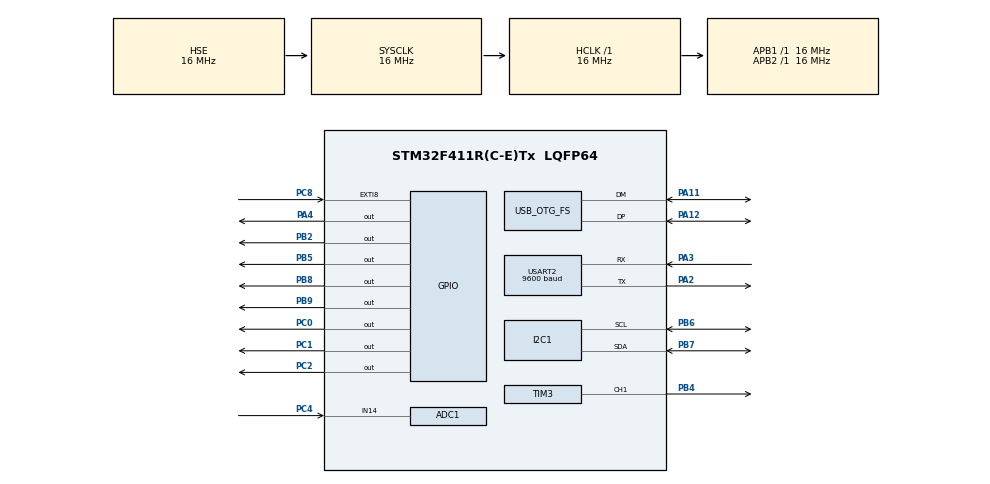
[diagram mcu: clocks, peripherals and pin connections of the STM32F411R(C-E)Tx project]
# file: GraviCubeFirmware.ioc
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ADC1.Channel-0\#ChannelRegularConversion=ADC_CHANNEL_14
ADC1.NbrOfConversionFlag=1
ADC1.Rank-0\#ChannelRegularConversion=1
ADC1.SamplingTime-0\#ChannelRegularConversion=ADC_SAMPLETIME_3CYCLES
ADC1.master=1
Dma.Request0=TIM3_CH1/TRIG
Dma.TIM3_CH1/TRIG.0.Direction=DMA_MEMORY_TO_PERIPH
Dma.TIM3_CH1/TRIG.0.FIFOMode=DMA_FIFOMODE_DISABLE
Dma.TIM3_CH1/TRIG.0.Instance=DMA1_Stream4
Dma.TIM3_CH1/TRIG.0.MemDataAlignment=DMA_MDATAALIGN_HALFWORD
Dma.TIM3_CH1/TRIG.0.MemInc=DMA_MINC_ENABLE
Dma.TIM3_CH1/TRIG.0.Mode=DMA_NORMAL
Dma.TIM3_CH1/TRIG.0.PeriphDataAlignment=DMA_PDATAALIGN_HALFWORD
Dma.TIM3_CH1/TRIG.0.PeriphInc=DMA_PINC_DISABLE
Dma.TIM3_CH1/TRIG.0.Priority=DMA_PRIORITY_LOW
Mcu.Family=STM32F4
Mcu.Name=STM32F411R(C-E)Tx
Mcu.Package=LQFP64
NVIC.DMA1_Stream4_IRQn=true\:0\:0\:false\:false\:true\:false\:true\:true
NVIC.I2C1_ER_IRQn=true\:0\:0\:false\:false\:true\:true\:true\:true
NVIC.I2C1_EV_IRQn=true\:0\:0\:false\:false\:true\:true\:true\:true
NVIC.OTG_FS_IRQn=true\:0\:0\:false\:false\:true\:false\:true\:true
NVIC.PriorityGroup=NVIC_PRIORITYGROUP_4
NVIC.TIM4_IRQn=true\:0\:0\:false\:false\:true\:true\:true\:true
NVIC.USART2_IRQn=true\:0\:0\:false\:false\:true\:true\:true\:true
PA11.Mode=Device_Only
PA11.Signal=USB_OTG_FS_DM
PA12.Mode=Device_Only
PA12.Signal=USB_OTG_FS_DP
PA13.Mode=Trace_Asynchronous_SW
PA13.Signal=SYS_JTMS-SWDIO
PA14.Mode=Trace_Asynchronous_SW
PA14.Signal=SYS_JTCK-SWCLK
PA2.Mode=Asynchronous
PA2.Signal=USART2_TX
PA3.Mode=Asynchronous
PA3.Signal=USART2_RX
PA4.Signal=GPIO_Output
PB2.Signal=GPIO_Output
PB3.Mode=Trace_Asynchronous_SW
PB3.Signal=SYS_JTDO-SWO
PB4.Signal=S_TIM3_CH1
PB5.Signal=GPIO_Output
PB6.Mode=I2C
PB6.Signal=I2C1_SCL
PB7.Mode=I2C
PB7.Signal=I2C1_SDA
PB8.Signal=GPIO_Output
PB9.Signal=GPIO_Output
PC0.PinState=GPIO_PIN_SET
PC0.Signal=GPIO_Output
PC1.PinState=GPIO_PIN_SET
PC1.Signal=GPIO_Output
PC2.PinState=GPIO_PIN_SET
PC2.Signal=GPIO_Output
PC4.Signal=SharedAnalog_PC4
PC8.GPIO_ModeDefaultEXTI=GPIO_MODE_IT_FALLING
PC8.GPIO_PuPd=GPIO_NOPULL
PC8.Signal=GPXTI8
PH0\ -\ OSC_IN.Mode=HSE-External-Oscillator
PH0\ -\ OSC_IN.Signal=RCC_OSC_IN
PH1\ -\ OSC_OUT.Mode=HSE-External-Oscillator
PH1\ -\ OSC_OUT.Signal=RCC_OSC_OUT
ProjectManager.HeapSize=0x200
ProjectManager.StackSize=0x400
ProjectManager.TargetToolchain=STM32CubeIDE
RCC.48MHZClocksFreq_Value=48000000
RCC.AHBFreq_Value=16000000
RCC.APB1Freq_Value=16000000
RCC.APB1TimFreq_Value=16000000
RCC.APB2Freq_Value=16000000
RCC.APB2TimFreq_Value=16000000
RCC.CortexFreq_Value=16000000
RCC.HCLKFreq_Value=16000000
RCC.HSE_VALUE=16000000
RCC.HSI_VALUE=16000000
RCC.LSE_VALUE=32768
RCC.SYSCLKFreq_VALUE=16000000
RCC.SYSCLKSource=RCC_SYSCLKSOURCE_HSE
RCC.VCOOutputFreq_Value=192000000
SH.S_TIM3_CH1.0=TIM3_CH1,PWM Generation1 CH1
SH.SharedAnalog_PC4.0=GPIO_Analog
SH.SharedAnalog_PC4.1=ADC1_IN14,IN14
TIM3.Channel-PWM\ Generation1\ CH1=TIM_CHANNEL_1
TIM3.Period=100-1
TIM3.Prescaler=8-1
TIM4.Period=1000-1
TIM4.Prescaler=16-1
USART2.BaudRate=9600
USART2.VirtualMode=VM_ASYNC
USB_DEVICE.CLASS_NAME_FS=CDC
USB_DEVICE.VirtualMode=Cdc
USB_DEVICE.VirtualModeFS=Cdc_FS
USB_OTG_FS.VirtualMode=Device_Only
VP_TIM3_VS_ClockSourceINT.Mode=Internal
VP_TIM4_VS_ClockSourceINT.Mode=Internal
VP_USB_DEVICE_VS_USB_DEVICE_CDC_FS.Mode=CDC_FS
board=custom

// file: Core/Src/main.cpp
/* USER CODE BEGIN Header */
/**
  ******************************************************************************
  * @file           : main.c
  * @brief          : Main program body
  ******************************************************************************
  * @attention
  *
  * Copyright (c) 2025 STMicroelectronics.
  * All rights reserved.
  *
  * This software is licensed under terms that can be found in the LICENSE file
  * in the root directory of this software component.
  * If no LICENSE file comes with this software, it is provided AS-IS.
  *
  ******************************************************************************
  */
/* USER CODE END Header */
#include "main.h"
#include "usb_device.h"

/* USER CODE BEGIN Includes */
#include <stdio.h>
#include "mpu6050.h"
#include "hc05BT.h"
#include "controlMotor.h"
#include "functions.h"
/* USER CODE END Includes */

ADC_HandleTypeDef hadc1;

I2C_HandleTypeDef hi2c1;

TIM_HandleTypeDef htim3;
TIM_HandleTypeDef htim4;
DMA_HandleTypeDef hdma_tim3_ch1_trig;

UART_HandleTypeDef huart2;

/* USER CODE BEGIN PV */
bool receivedStart_Flag_1D = false;
uint8_t balanceMode = idle;
Motor* Motor_3 = nullptr;
/*
 **********************************
 **		    TEST-SETTINGS	     **
 **********************************
*/
const bool testMode = false;
/* USER CODE END PV */

void SystemClock_Config(void);
static void MX_GPIO_Init(void);
static void MX_DMA_Init(void);
static void MX_I2C1_Init(void);
static void MX_TIM3_Init(void);
static void MX_USART2_UART_Init(void);
static void MX_TIM4_Init(void);
static void MX_ADC1_Init(void);

int main(void)
{

  /* MCU Configuration--------------------------------------------------------*/

  /* Reset of all peripherals, Initializes the Flash interface and the Systick. */
  HAL_Init();

  /* Configure the system clock */
  SystemClock_Config();

  /* Initialize all configured peripherals */
  MX_GPIO_Init();
  MX_DMA_Init();
  MX_USB_DEVICE_Init();
  MX_I2C1_Init();
  MX_TIM3_Init();
  MX_USART2_UART_Init();
  MX_TIM4_Init();
  MX_ADC1_Init();
  /* USER CODE BEGIN 2 */

  Motor_3 = new Motor(&htim3, TIM_CHANNEL_1, GPIOB, GPIO_PIN_9, GPIO_PIN_5, GPIO_PIN_8);

  //MPU-6050 Init
  mpu6050_init(false);

  //HC-05 Bluetooth Init
  hc05_init();

  /*
  TIM3->CCR1 = 50;
  HAL_TIM_PWM_Start(&htim3, TIM_CHANNEL_1);

  HAL_GPIO_WritePin(GPIOB, GPIO_PIN_5, GPIO_PIN_RESET); //Start/Stop auf LOW
  HAL_GPIO_WritePin(GPIOB, GPIO_PIN_8, GPIO_PIN_SET); //Brake auf HIGH damit gelöst
  HAL_GPIO_WritePin(GPIOB, GPIO_PIN_9, GPIO_PIN_RESET); //Richtung des Motors
  */

  HAL_GPIO_WritePin(GPIOC, GPIO_PIN_0, GPIO_PIN_RESET); //RGB-LED

  /* USER CODE END 2 */

  /* Infinite loop */
  /* USER CODE BEGIN WHILE */
  while (1)
  {
	//Function-LED
	blinkLED(500);

	float batteryVoltage = readBatteryVoltage();

	static bool beepState = false;
	static bool startState = false;
	if(batteryVoltage < 10.0)
	{
		static uint32_t timeStart = HAL_GetTick();
		if(!startState)
		{
			timeStart = HAL_GetTick();
			startState = true;
		}

		if(HAL_GetTick() - timeStart >= 2000 && startState)
		{
			timeStart = HAL_GetTick();
			beepState = true;
			printf("%f \n", batteryVoltage);
		}
	}
	else
	{
		beepState = false;
		startState = false;
	}

	static bool buzzerActive = false;

	static uint32_t timeSaveBeep = HAL_GetTick();
	if (beepState)
	{
		if(HAL_GetTick() - timeSaveBeep >= 200)
		{
			HAL_GPIO_TogglePin(GPIOC, GPIO_PIN_2);
			timeSaveBeep = HAL_GetTick();
		}
	}
	else if(!buzzerActive)
	{
		HAL_GPIO_WritePin(GPIOC, GPIO_PIN_2, GPIO_PIN_SET);
	}

	if (receivedStart_Flag_1D && balanceMode == idle)
	{
	    static uint32_t timeSaveBuzzer = 0;

	    if (!buzzerActive)  // If the buzzer is not already on, start it
	    {
	        HAL_GPIO_WritePin(GPIOC, GPIO_PIN_2, GPIO_PIN_RESET); // Turn on buzzer
	        timeSaveBuzzer = HAL_GetTick(); // Save the current time
	        buzzerActive = true;
	    }

	    if (buzzerActive && (HAL_GetTick() - timeSaveBuzzer >= 500)) // 500 ms delay
	    {
	        printf("Start \n");
	        HAL_GPIO_WritePin(GPIOC, GPIO_PIN_2, GPIO_PIN_SET); // Turn off buzzer
	        buzzerActive = false;  // Reset buzzer state

	        if (testMode)
	        {
	        	balanceMode = test;
	        }
	        else
	        {
	        	balanceMode = oneDimensional;
	        }

        	Motor_3->changeMotorState(enableMotor);
        	Motor_3->changeBrakeState(disableBrake);

	        receivedStart_Flag_1D = false; // Reset the Start Flag
	    }
	}

	/*
	//X-Axis Accelerometer
	uint8_t dataAccX[2];
	int16_t x_acc;
	HAL_I2C_Mem_Read(&hi2c1, (0b1101000 <<1) + 1, 59, 1, dataAccX, 2, 100);
	x_acc = (((int16_t)dataAccX[0] << 8) + dataAccX[1]);
	printf("x-axis acceleration: %d \n", x_acc);

	//Y-Axis Accelerometer
	uint8_t dataAccY[2];
	int16_t y_acc;
	HAL_I2C_Mem_Read(&hi2c1, (0b1101000 <<1) + 1, 61, 1, dataAccY, 2, 100);
	y_acc = (((int16_t)dataAccY[0] << 8) + dataAccY[1]);
	printf("y-axis acceleration: %d \n", y_acc);

	//Z-Axis Accelerometer
	uint8_t dataAccZ[2];
	int16_t z_acc;
	HAL_I2C_Mem_Read(&hi2c1, (0b1101000 <<1) + 1, 63, 1, dataAccZ, 2, 100);
	z_acc = (((int16_t)dataAccZ[0] << 8) + dataAccZ[1]);
	printf("z-axis acceleration: %d \n", z_acc);
	*/

    /* USER CODE END WHILE */

  }
}

void SystemClock_Config(void)
{
  RCC_OscInitTypeDef RCC_OscInitStruct = {0};
  RCC_ClkInitTypeDef RCC_ClkInitStruct = {0};

  /** Configure the main internal regulator output voltage
  */
  __HAL_RCC_PWR_CLK_ENABLE();
  __HAL_PWR_VOLTAGESCALING_CONFIG(PWR_REGULATOR_VOLTAGE_SCALE1);

  /** Initializes the RCC Oscillators according to the specified parameters
  * in the RCC_OscInitTypeDef structure.
  */
  RCC_OscInitStruct.OscillatorType = RCC_OSCILLATORTYPE_HSE;
  RCC_OscInitStruct.HSEState = RCC_HSE_ON;
  RCC_OscInitStruct.PLL.PLLState = RCC_PLL_ON;
  RCC_OscInitStruct.PLL.PLLSource = RCC_PLLSOURCE_HSE;
  RCC_OscInitStruct.PLL.PLLM = 16;
  RCC_OscInitStruct.PLL.PLLN = 192;
  RCC_OscInitStruct.PLL.PLLP = RCC_PLLP_DIV2;
  RCC_OscInitStruct.PLL.PLLQ = 4;
  if (HAL_RCC_OscConfig(&RCC_OscInitStruct) != HAL_OK)
  {
    Error_Handler();
  }

  /** Initializes the CPU, AHB and APB buses clocks
  */
  RCC_ClkInitStruct.ClockType = RCC_CLOCKTYPE_HCLK|RCC_CLOCKTYPE_SYSCLK
                              |RCC_CLOCKTYPE_PCLK1|RCC_CLOCKTYPE_PCLK2;
  RCC_ClkInitStruct.SYSCLKSource = RCC_SYSCLKSOURCE_HSE;
  RCC_ClkInitStruct.AHBCLKDivider = RCC_SYSCLK_DIV1;
  RCC_ClkInitStruct.APB1CLKDivider = RCC_HCLK_DIV1;
  RCC_ClkInitStruct.APB2CLKDivider = RCC_HCLK_DIV1;

  if (HAL_RCC_ClockConfig(&RCC_ClkInitStruct, FLASH_LATENCY_0) != HAL_OK)
  {
    Error_Handler();
  }
}

static void MX_ADC1_Init(void)
{

  ADC_ChannelConfTypeDef sConfig = {0};

  /** Configure the global features of the ADC (Clock, Resolution, Data Alignment and number of conversion)
  */
  hadc1.Instance = ADC1;
  hadc1.Init.ClockPrescaler = ADC_CLOCK_SYNC_PCLK_DIV2;
  hadc1.Init.Resolution = ADC_RESOLUTION_12B;
  hadc1.Init.ScanConvMode = DISABLE;
  hadc1.Init.ContinuousConvMode = DISABLE;
  hadc1.Init.DiscontinuousConvMode = DISABLE;
  hadc1.Init.ExternalTrigConvEdge = ADC_EXTERNALTRIGCONVEDGE_NONE;
  hadc1.Init.ExternalTrigConv = ADC_SOFTWARE_START;
  hadc1.Init.DataAlign = ADC_DATAALIGN_RIGHT;
  hadc1.Init.NbrOfConversion = 1;
  hadc1.Init.DMAContinuousRequests = DISABLE;
  hadc1.Init.EOCSelection = ADC_EOC_SINGLE_CONV;
  if (HAL_ADC_Init(&hadc1) != HAL_OK)
  {
    Error_Handler();
  }

  /** Configure for the selected ADC regular channel its corresponding rank in the sequencer and its sample time.
  */
  sConfig.Channel = ADC_CHANNEL_14;
  sConfig.Rank = 1;
  sConfig.SamplingTime = ADC_SAMPLETIME_3CYCLES;
  if (HAL_ADC_ConfigChannel(&hadc1, &sConfig) != HAL_OK)
  {
    Error_Handler();
  }

}

static void MX_I2C1_Init(void)
{

  hi2c1.Instance = I2C1;
  hi2c1.Init.ClockSpeed = 100000;
  hi2c1.Init.DutyCycle = I2C_DUTYCYCLE_2;
  hi2c1.Init.OwnAddress1 = 0;
  hi2c1.Init.AddressingMode = I2C_ADDRESSINGMODE_7BIT;
  hi2c1.Init.DualAddressMode = I2C_DUALADDRESS_DISABLE;
  hi2c1.Init.OwnAddress2 = 0;
  hi2c1.Init.GeneralCallMode = I2C_GENERALCALL_DISABLE;
  hi2c1.Init.NoStretchMode = I2C_NOSTRETCH_DISABLE;
  if (HAL_I2C_Init(&hi2c1) != HAL_OK)
  {
    Error_Handler();
  }

}

static void MX_TIM3_Init(void)
{

  TIM_ClockConfigTypeDef sClockSourceConfig = {0};
  TIM_MasterConfigTypeDef sMasterConfig = {0};
  TIM_OC_InitTypeDef sConfigOC = {0};

  htim3.Instance = TIM3;
  htim3.Init.Prescaler = 8-1;
  htim3.Init.CounterMode = TIM_COUNTERMODE_UP;
  htim3.Init.Period = 100-1;
  htim3.Init.ClockDivision = TIM_CLOCKDIVISION_DIV1;
  htim3.Init.AutoReloadPreload = TIM_AUTORELOAD_PRELOAD_DISABLE;
  if (HAL_TIM_Base_Init(&htim3) != HAL_OK)
  {
    Error_Handler();
  }
  sClockSourceConfig.ClockSource = TIM_CLOCKSOURCE_INTERNAL;
  if (HAL_TIM_ConfigClockSource(&htim3, &sClockSourceConfig) != HAL_OK)
  {
    Error_Handler();
  }
  if (HAL_TIM_PWM_Init(&htim3) != HAL_OK)
  {
    Error_Handler();
  }
  sMasterConfig.MasterOutputTrigger = TIM_TRGO_RESET;
  sMasterConfig.MasterSlaveMode = TIM_MASTERSLAVEMODE_DISABLE;
  if (HAL_TIMEx_MasterConfigSynchronization(&htim3, &sMasterConfig) != HAL_OK)
  {
    Error_Handler();
  }
  sConfigOC.OCMode = TIM_OCMODE_PWM1;
  sConfigOC.Pulse = 0;
  sConfigOC.OCPolarity = TIM_OCPOLARITY_HIGH;
  sConfigOC.OCFastMode = TIM_OCFAST_DISABLE;
  if (HAL_TIM_PWM_ConfigChannel(&htim3, &sConfigOC, TIM_CHANNEL_1) != HAL_OK)
  {
    Error_Handler();
  }
  HAL_TIM_MspPostInit(&htim3);

}

static void MX_TIM4_Init(void)
{

  TIM_ClockConfigTypeDef sClockSourceConfig = {0};
  TIM_MasterConfigTypeDef sMasterConfig = {0};

  htim4.Instance = TIM4;
  htim4.Init.Prescaler = 16-1;
  htim4.Init.CounterMode = TIM_COUNTERMODE_UP;
  htim4.Init.Period = 1000-1;
  htim4.Init.ClockDivision = TIM_CLOCKDIVISION_DIV1;
  htim4.Init.AutoReloadPreload = TIM_AUTORELOAD_PRELOAD_DISABLE;
  if (HAL_TIM_Base_Init(&htim4) != HAL_OK)
  {
    Error_Handler();
  }
  sClockSourceConfig.ClockSource = TIM_CLOCKSOURCE_INTERNAL;
  if (HAL_TIM_ConfigClockSource(&htim4, &sClockSourceConfig) != HAL_OK)
  {
    Error_Handler();
  }
  sMasterConfig.MasterOutputTrigger = TIM_TRGO_RESET;
  sMasterConfig.MasterSlaveMode = TIM_MASTERSLAVEMODE_DISABLE;
  if (HAL_TIMEx_MasterConfigSynchronization(&htim4, &sMasterConfig) != HAL_OK)
  {
    Error_Handler();
  }

}

static void MX_USART2_UART_Init(void)
{

  huart2.Instance = USART2;
  huart2.Init.BaudRate = 9600;
  huart2.Init.WordLength = UART_WORDLENGTH_8B;
  huart2.Init.StopBits = UART_STOPBITS_1;
  huart2.Init.Parity = UART_PARITY_NONE;
  huart2.Init.Mode = UART_MODE_TX_RX;
  huart2.Init.HwFlowCtl = UART_HWCONTROL_NONE;
  huart2.Init.OverSampling = UART_OVERSAMPLING_16;
  if (HAL_UART_Init(&huart2) != HAL_OK)
  {
    Error_Handler();
  }

}

static void MX_DMA_Init(void)
{

  /* DMA controller clock enable */
  __HAL_RCC_DMA1_CLK_ENABLE();

  /* DMA interrupt init */
  /* DMA1_Stream4_IRQn interrupt configuration */
  HAL_NVIC_SetPriority(DMA1_Stream4_IRQn, 0, 0);
  HAL_NVIC_EnableIRQ(DMA1_Stream4_IRQn);

}

static void MX_GPIO_Init(void)
{
  GPIO_InitTypeDef GPIO_InitStruct = {0};

  /* GPIO Ports Clock Enable */
  __HAL_RCC_GPIOH_CLK_ENABLE();
  __HAL_RCC_GPIOC_CLK_ENABLE();
  __HAL_RCC_GPIOA_CLK_ENABLE();
  __HAL_RCC_GPIOB_CLK_ENABLE();

  /*Configure GPIO pin Output Level */
  HAL_GPIO_WritePin(GPIOC, GPIO_PIN_0|GPIO_PIN_1|GPIO_PIN_2, GPIO_PIN_SET);

  /*Configure GPIO pin Output Level */
  HAL_GPIO_WritePin(GPIOA, GPIO_PIN_4, GPIO_PIN_RESET);

  /*Configure GPIO pin Output Level */
  HAL_GPIO_WritePin(GPIOB, GPIO_PIN_2|GPIO_PIN_5|GPIO_PIN_8|GPIO_PIN_9, GPIO_PIN_RESET);

  /*Configure GPIO pins : PC0 PC1 PC2 */
  GPIO_InitStruct.Pin = GPIO_PIN_0|GPIO_PIN_1|GPIO_PIN_2;
  GPIO_InitStruct.Mode = GPIO_MODE_OUTPUT_PP;
  GPIO_InitStruct.Pull = GPIO_NOPULL;
  GPIO_InitStruct.Speed = GPIO_SPEED_FREQ_LOW;
  HAL_GPIO_Init(GPIOC, &GPIO_InitStruct);

  /*Configure GPIO pin : PA4 */
  GPIO_InitStruct.Pin = GPIO_PIN_4;
  GPIO_InitStruct.Mode = GPIO_MODE_OUTPUT_PP;
  GPIO_InitStruct.Pull = GPIO_NOPULL;
  GPIO_InitStruct.Speed = GPIO_SPEED_FREQ_LOW;
  HAL_GPIO_Init(GPIOA, &GPIO_InitStruct);

  /*Configure GPIO pins : PB2 PB5 PB8 PB9 */
  GPIO_InitStruct.Pin = GPIO_PIN_2|GPIO_PIN_5|GPIO_PIN_8|GPIO_PIN_9;
  GPIO_InitStruct.Mode = GPIO_MODE_OUTPUT_PP;
  GPIO_InitStruct.Pull = GPIO_NOPULL;
  GPIO_InitStruct.Speed = GPIO_SPEED_FREQ_LOW;
  HAL_GPIO_Init(GPIOB, &GPIO_InitStruct);

  /*Configure GPIO pin : PC8 */
  GPIO_InitStruct.Pin = GPIO_PIN_8;
  GPIO_InitStruct.Mode = GPIO_MODE_IT_FALLING;
  GPIO_InitStruct.Pull = GPIO_NOPULL;
  HAL_GPIO_Init(GPIOC, &GPIO_InitStruct);

}

/* USER CODE BEGIN 4 */
// used for support of printf out of SWD when using C++
extern "C"
{
	int _write(int file, char *ptr, int len)
	{
		(void)file;
		int DataIdx;

		for (DataIdx = 0; DataIdx < len; DataIdx++)
		{
			ITM_SendChar(*ptr++);
		}
		return len;
	}
}

/* USER CODE END 4 */

void Error_Handler(void)
{
  __disable_irq();
  while (1)
  {
  }
}
